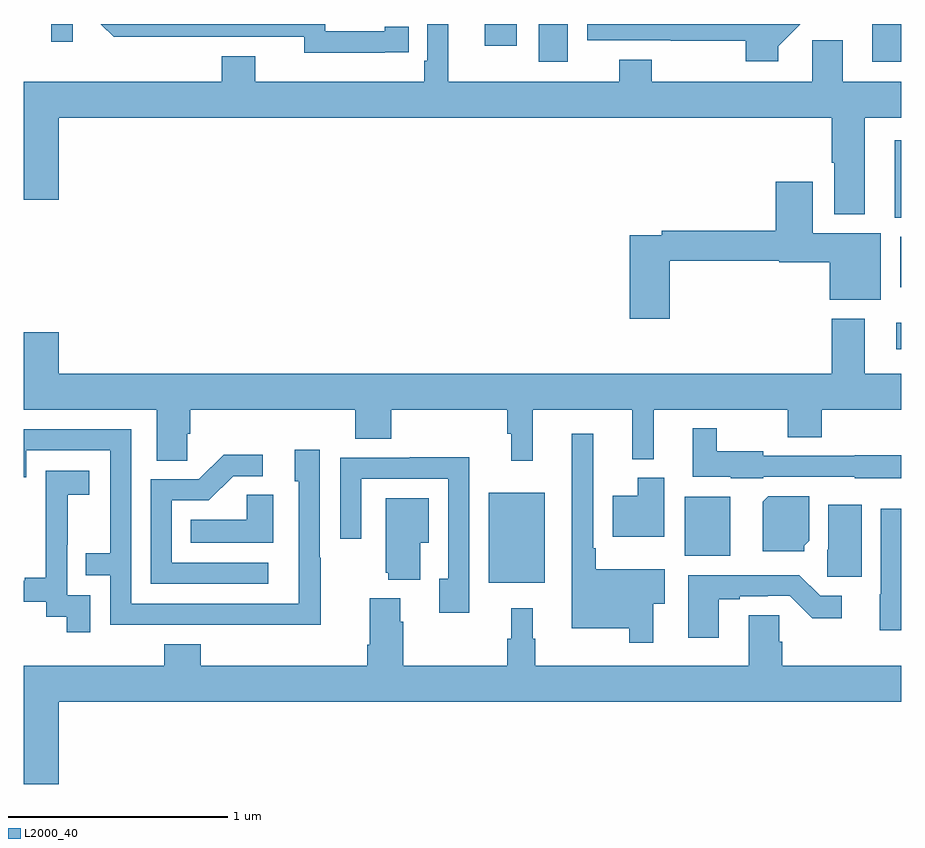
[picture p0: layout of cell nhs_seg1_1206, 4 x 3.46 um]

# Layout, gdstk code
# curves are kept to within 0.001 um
import gdstk
lib = gdstk.Library(unit=1e-6, precision=1e-09)
def R(c, l, rs):  # rectangles x0, y0, x1, y1
    for r in rs: c.add(gdstk.rectangle(r[:2], r[2:], *l))
def P(c, l, *ps):  # polygons
    for p in ps: c.add(gdstk.Polygon(p, *l))
L2000_40 = (2000, 40)

nhs_seg1_1206 = lib.new_cell('nhs_seg1_1206')
R(nhs_seg1_1206, L2000_40, [(179.12,509.651,179.374,510.061), (180.014,509.774,180.22,510.044), (180.978,510.716,181,510.838), (180.995,510.998,181,511.228), (180.971,511.316,181,511.669), (179.348,512.028,179.479,512.199), (180.869,512.028,181,512.199), (179.102,512.1,179.248,512.199), (177.125,512.118,177.222,512.199)])
P(nhs_seg1_1206, L2000_40, [(178.646,512.07),(178.754,512.07),(178.754,512.186),(178.646,512.186),(178.646,512.166),(178.374,512.166),(178.374,512.199),(177.351,512.199),(177.41,512.141),(178.278,512.142),(178.278,512.069)],
  [(180.835,511.772),(181,511.772),(181,511.936),(180.733,511.936),(180.733,512.126),(180.594,512.126),(180.594,511.936),(179.862,511.936),(179.862,512.035),(179.714,512.035),(179.714,511.936),(178.936,511.936),(178.936,512.199),(178.839,512.199),(178.839,512.032),(178.826,512.032),(178.826,511.936),(178.054,511.936),(178.054,512.053),(177.902,512.053),(177.902,511.936),(177,511.936),(177,511.398),(177.16,511.398),(177.16,511.772),(180.683,511.772),(180.683,511.567),(180.695,511.567),(180.695,511.331),(180.835,511.331)],
  [(180.439,512.098),(180.54,512.199),(179.568,512.199),(179.568,512.124),(179.95,512.124),(179.95,512.123),(180.292,512.123),(180.292,512.03),(180.439,512.03)],
  [(179.945,511.12),(180.444,511.12),(180.444,511.112),(180.674,511.112),(180.674,510.941),(180.907,510.941),(180.907,511.246),(180.598,511.246),(180.598,511.48),(180.428,511.48),(180.428,511.256),(179.908,511.256),(179.908,511.236),(179.762,511.236),(179.762,510.855),(179.945,510.855)],
  [(179.321,510.44),(179.774,510.44),(179.774,510.215),(179.873,510.215),(179.873,510.44),(180.484,510.44),(180.484,510.316),(180.639,510.316),(180.639,510.44),(181,510.44),(181,510.604),(180.835,510.604),(180.835,510.856),(180.683,510.856),(180.683,510.604),(177.16,510.604),(177.16,510.793),(177,510.793),(177,510.44),(177.605,510.44),(177.605,510.208),(177.744,510.208),(177.744,510.331),(177.758,510.331),(177.758,510.44),(178.511,510.44),(178.511,510.307),(178.676,510.307),(178.676,510.44),(179.203,510.44),(179.203,510.332),(179.222,510.332),(179.222,510.207),(179.321,510.207)],
  [(180.372,510.135),(180.789,510.135),(180.789,510.128),(181,510.128),(181,510.233),(180.789,510.233),(180.789,510.231),(180.372,510.231),(180.372,510.25),(180.16,510.25),(180.16,510.355),(180.05,510.355),(180.05,510.134),(180.222,510.134),(180.222,510.128),(180.372,510.128)],
  [(178.353,509.765),(178.35,509.765),(178.35,510.259),(178.235,510.259),(178.235,510.114),(178.254,510.114),(178.254,509.556),(177.489,509.556),(177.489,510.351),(177,510.351),(177,510.132),(177.012,510.132),(177.012,510.255),(177.393,510.255),(177.393,509.786),(177.283,509.786),(177.283,509.685),(177.393,509.685),(177.393,509.46),(177.889,509.46),(177.889,509.459),(178.353,509.459)],
  [(179.869,509.555),(179.923,509.555),(179.923,509.713),(179.608,509.713),(179.608,509.809),(179.595,509.809),(179.595,510.331),(179.499,510.331),(179.499,509.444),(179.76,509.444),(179.76,509.379),(179.869,509.379)],
  [(178.114,509.742),(177.675,509.742),(177.675,510.027),(177.844,510.027),(177.955,510.138),(178.09,510.138),(178.09,510.236),(177.911,510.236),(177.798,510.123),(177.579,510.123),(177.579,509.646),(178.114,509.646)],
  [(179.031,510.224),(178.759,510.224),(178.759,510.222),(178.443,510.222),(178.443,509.853),(178.539,509.853),(178.539,510.126),(178.935,510.126),(178.935,509.67),(178.895,509.67),(178.895,509.514),(179.031,509.514)],
  [(177.303,509.595),(177.198,509.595),(177.198,509.825),(177.2,509.825),(177.2,510.053),(177.298,510.053),(177.298,510.163),(177.1,510.163),(177.1,509.957),(177.101,509.957),(177.101,509.674),(177.005,509.674),(177.005,509.661),(177,509.661),(177,509.565),(177.102,509.565),(177.102,509.497),(177.195,509.497),(177.195,509.427),(177.303,509.427)],
  [(179.92,510.13),(179.798,510.13),(179.798,510.049),(179.684,510.049),(179.684,509.861),(179.92,509.861)],
  [(178.138,510.053),(178.017,510.053),(178.017,509.938),(177.76,509.938),(177.76,509.834),(178.138,509.834)],
  [(180.558,509.82),(180.58,509.842),(180.58,510.046),(180.394,510.046),(180.368,510.02),(180.368,509.795),(180.558,509.795)],
  [(178.807,509.834),(178.846,509.834),(178.846,510.037),(178.649,510.037),(178.649,509.697),(178.661,509.697),(178.661,509.666),(178.807,509.666)],
  [(180.82,510.007),(180.668,510.007),(180.668,509.802),(180.664,509.802),(180.664,509.679),(180.82,509.679)],
  [(181,509.989),(180.908,509.989),(180.908,509.598),(180.902,509.598),(180.902,509.436),(181,509.436)],
  [(180.169,509.577),(180.265,509.577),(180.265,509.589),(180.392,509.589),(180.392,509.592),(180.492,509.592),(180.595,509.49),(180.73,509.49),(180.73,509.592),(180.63,509.592),(180.536,509.686),(180.029,509.686),(180.029,509.4),(180.169,509.4)],
  [(177.16,509.108),(181,509.108),(181,509.272),(180.458,509.272),(180.458,509.382),(180.444,509.382),(180.444,509.504),(180.305,509.504),(180.305,509.272),(179.332,509.272),(179.332,509.396),(179.32,509.396),(179.32,509.536),(179.222,509.536),(179.222,509.396),(179.203,509.396),(179.203,509.272),(178.73,509.272),(178.73,509.474),(178.717,509.474),(178.717,509.581),(178.577,509.581),(178.577,509.368),(178.565,509.368),(178.565,509.272),(177.806,509.272),(177.806,509.371),(177.641,509.371),(177.641,509.272),(177,509.272),(177,508.734),(177.16,508.734)])

lib.write_gds('nhs_seg1_1206.gds')
